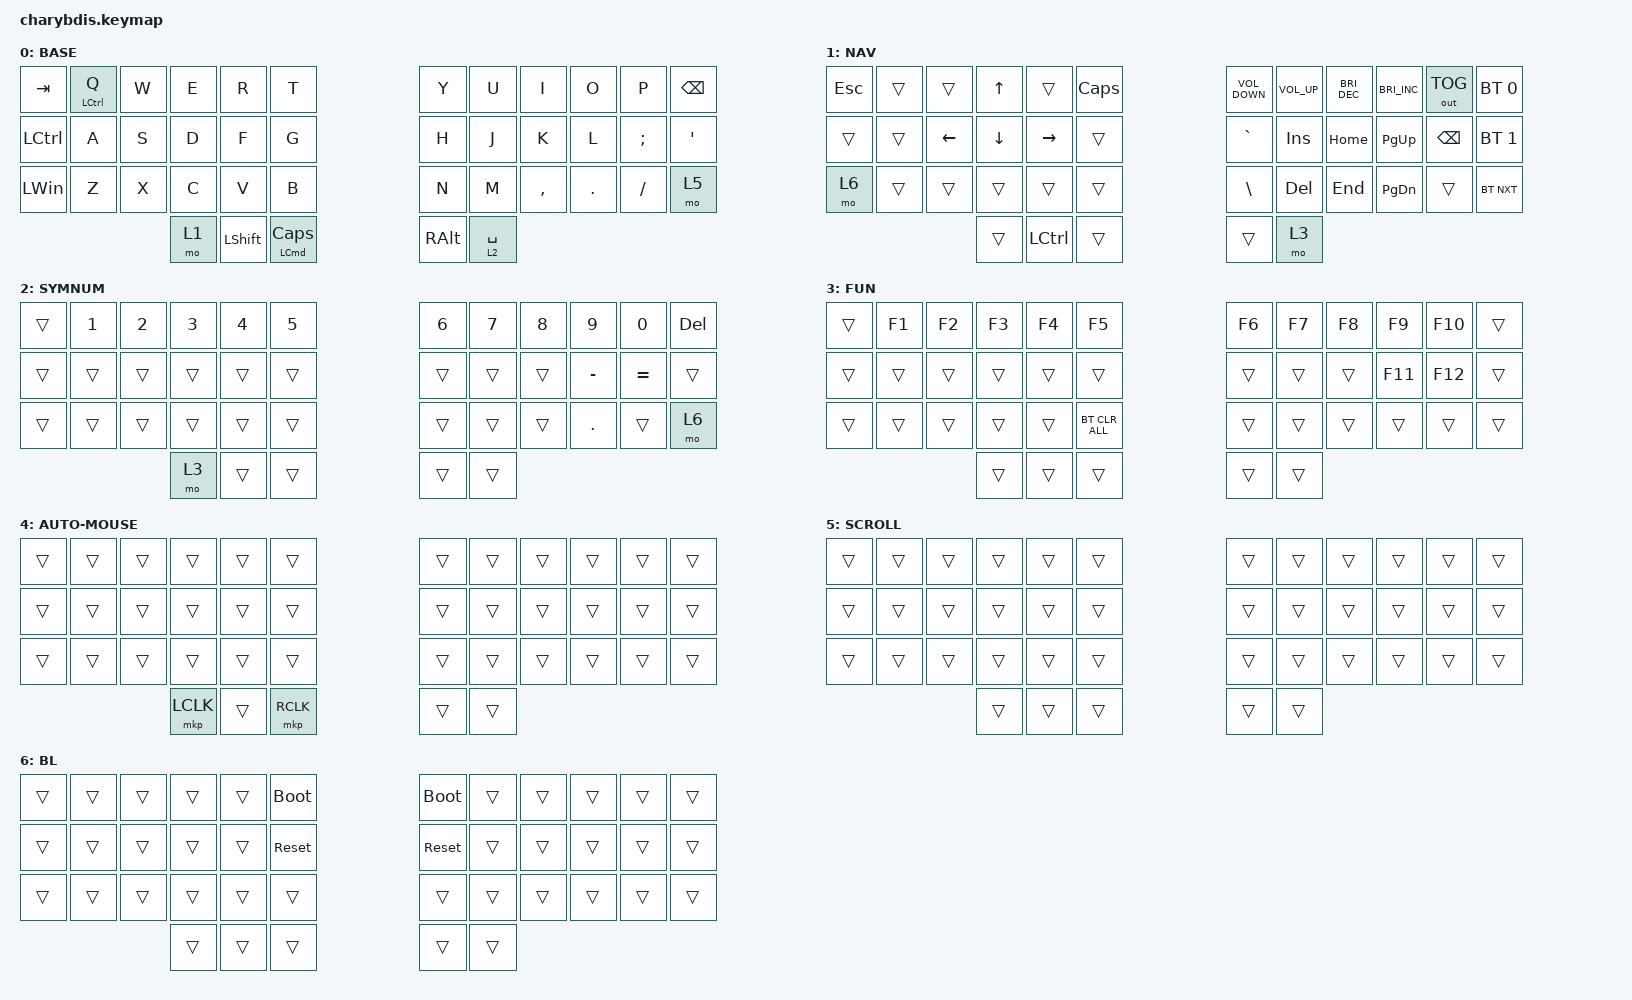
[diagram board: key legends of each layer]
#include <behaviors/mouse_keys.dtsi>
#include <dt-bindings/zmk/mouse.h>
#include <behaviors.dtsi>
#include <dt-bindings/zmk/bt.h>
#include <dt-bindings/zmk/keys.h>
#include <dt-bindings/zmk/outputs.h>

#define U_TAPPING_TERM 200

&mt {
    tapping-term-ms = <130>;
    quick-tap-ms = <130>;
    flavor = "balanced";
};

/ {
    chosen { zmk,matrix_transform = &default_transform; };
};

/ {
    combos {
        compatible = "zmk,combos";

        LeftClickRight {
            bindings = <&mkp LCLK>;
            key-positions = <20 21>;
            slow-release;
            timeout-ms = <50>;
        };

        RightClickRight {
            bindings = <&mkp RCLK>;
            key-positions = <33 32>;
            slow-release;
            timeout-ms = <50>;
        };

        MiddleClickRight {
            bindings = <&mkp MCLK>;
            key-positions = <8 9>;
            slow-release;
            timeout-ms = <50>;
        };

        ParaLeft {
            bindings = <&kp LEFT_PARENTHESIS>;
            key-positions = <7 8>;
            slow-release;
            timeout-ms = <50>;
        };

        ParaRight {
            bindings = <&kp RIGHT_PARENTHESIS>;
            key-positions = <9 10>;
            slow-release;
            timeout-ms = <50>;
        };

        BrakLeft {
            bindings = <&kp LEFT_BRACKET>;
            key-positions = <31 32>;
            slow-release;
            timeout-ms = <50>;
        };

        BrakRight {
            bindings = <&kp RIGHT_BRACKET>;
            key-positions = <33 34>;
            slow-release;
            timeout-ms = <50>;
        };

        Enter {
            bindings = <&kp ENTER>;
            key-positions = <19 20>;
            slow-release;
            timeout-ms = <50>;
        };

        Tab {
            bindings = <&kp TAB>;
            key-positions = <13 14>;
            slow-release;
            timeout-ms = <50>;
        };

        Esc {
            bindings = <&kp ESCAPE>;
            key-positions = <1 2>;
            slow-release;
            timeout-ms = <50>;
        };

        Quote {
            bindings = <&kp SINGLE_QUOTE>;
            key-positions = <21 22>;
            slow-release;
            timeout-ms = <50>;
        };

        Ctrl_A {
            bindings = <&kp LC(A)>;
            key-positions = <27 13>;
            slow-release;
            timeout-ms = <50>;
        };

        Ctrl_Z {
            bindings = <&kp LC(Z)>;
            key-positions = <27 25>;
            slow-release;
            timeout-ms = <50>;
        };

        Colon {
            bindings = <&kp COLON>;
            key-positions = <15 16>;
            timeout-ms = <50>;
            slow-release;
        };

        Ctrl_Q {
            bindings = <&kp LC(Q)>;
            key-positions = <27 1>;
            timeout-ms = <50>;
            slow-release;
        };
    };

    behaviors {
        u_mt: u_mt {
            compatible = "zmk,behavior-hold-tap";
            label = "u_mt";
            #binding-cells = <2>;
            tapping_term_ms = <U_TAPPING_TERM>;
            flavor = "tap-preferred";
            bindings = <&kp>, <&kp>;
        };

        u_lt: u_lt {
            compatible = "zmk,behavior-hold-tap";
            label = "u_lt";
            #binding-cells = <2>;
            tapping_term_ms = <U_TAPPING_TERM>;
            flavor = "tap-preferred";
            bindings = <&mo>, <&kp>;
        };

        Shift_Enter: Shift_Enter {
            compatible = "zmk,behavior-hold-tap";
            label = "SHIFT_ENTER";
            bindings = <&kp>, <&kp>;

            #binding-cells = <2>;
            hold-trigger-key-positions = <40>;
            tapping-term-ms = <100>;
        };
    };

    keymap {
        compatible = "zmk,keymap";

        BASE {
            bindings = <
&kp TAB           &mt LEFT_CONTROL Q  &kp W  &kp E  &kp R           &kp T                        &kp Y     &kp U        &kp I      &kp O    &kp P     &kp BSPC
&kp LEFT_CONTROL  &kp A               &kp S  &kp D  &kp F           &kp G                        &kp H     &kp J        &kp K      &kp L    &kp SEMI  &kp APOS
&kp LEFT_WIN      &kp Z               &kp X  &kp C  &kp V           &kp B                        &kp N     &kp M        &kp COMMA  &kp DOT  &kp FSLH  &mo 5
                                             &mo 1  &kp LEFT_SHIFT  &mt LEFT_COMMAND CAPSLOCK    &kp RALT  &lt 2 SPACE
            >;
        };

        NAV {
            bindings = <
&kp ESCAPE  &trans  &trans    &kp UP_ARROW  &trans     &kp CLCK    &kp C_VOLUME_DOWN  &kp C_VOLUME_UP  &kp C_BRIGHTNESS_DEC  &kp C_BRIGHTNESS_INC  &out OUT_TOG   &bt BT_SEL 0
&trans      &trans  &kp LEFT  &kp DOWN      &kp RIGHT  &trans      &kp GRAVE          &kp INS          &kp HOME              &kp PAGE_UP           &kp BACKSPACE  &bt BT_SEL 1
&mo 6       &trans  &trans    &trans        &trans     &trans      &kp BACKSLASH      &kp DELETE       &kp END               &kp PAGE_DOWN         &trans         &bt BT_NXT
                              &trans        &kp LCTRL  &trans      &trans             &mo 3
            >;
        };

        SYMNUM {
            bindings = <
&trans  &kp N1  &kp N2  &kp N3  &kp N4  &kp N5    &kp N6  &kp N7  &kp N8  &kp N9     &kp N0     &kp DEL
&trans  &trans  &trans  &trans  &trans  &trans    &trans  &trans  &trans  &kp MINUS  &kp EQUAL  &trans
&trans  &trans  &trans  &trans  &trans  &trans    &trans  &trans  &trans  &kp DOT    &trans     &mo 6
                        &mo 3   &trans  &trans    &trans  &trans
            >;
        };

        FUN {
            bindings = <
&trans  &kp F1  &kp F2  &kp F3  &kp F4  &kp F5            &kp F6  &kp F7  &kp F8  &kp F9   &kp F10  &trans
&trans  &trans  &trans  &trans  &trans  &trans            &trans  &trans  &trans  &kp F11  &kp F12  &trans
&trans  &trans  &trans  &trans  &trans  &bt BT_CLR_ALL    &trans  &trans  &trans  &trans   &trans   &trans
                        &trans  &trans  &trans            &trans  &trans
            >;
        };

        AUTO-MOUSE {
            bindings = <
&trans  &trans  &trans  &trans     &trans  &trans       &trans  &trans  &trans  &trans  &trans  &trans
&trans  &trans  &trans  &trans     &trans  &trans       &trans  &trans  &trans  &trans  &trans  &trans
&trans  &trans  &trans  &trans     &trans  &trans       &trans  &trans  &trans  &trans  &trans  &trans
                        &mkp LCLK  &trans  &mkp RCLK    &trans  &trans
            >;
        };

        SCROLL {
            bindings = <
&trans  &trans  &trans  &trans  &trans  &trans    &trans  &trans  &trans  &trans  &trans  &trans
&trans  &trans  &trans  &trans  &trans  &trans    &trans  &trans  &trans  &trans  &trans  &trans
&trans  &trans  &trans  &trans  &trans  &trans    &trans  &trans  &trans  &trans  &trans  &trans
                        &trans  &trans  &trans    &trans  &trans
            >;
        };

        BL {
            bindings = <
&trans  &trans  &trans  &trans  &trans  &bootloader    &bootloader  &trans  &trans  &trans  &trans  &trans
&trans  &trans  &trans  &trans  &trans  &sys_reset     &sys_reset   &trans  &trans  &trans  &trans  &trans
&trans  &trans  &trans  &trans  &trans  &trans         &trans       &trans  &trans  &trans  &trans  &trans
                        &trans  &trans  &trans         &trans       &trans
            >;
        };
    };
};
